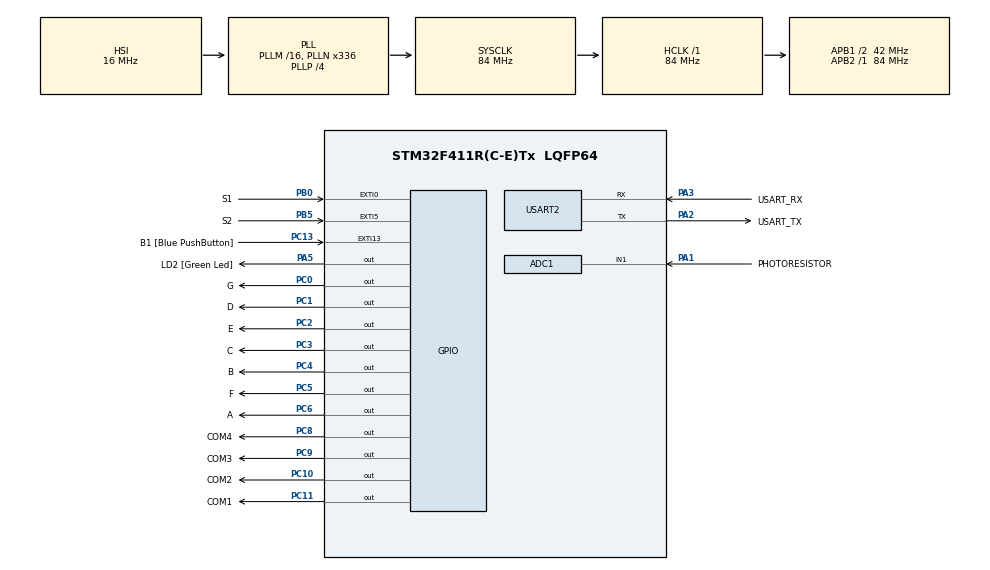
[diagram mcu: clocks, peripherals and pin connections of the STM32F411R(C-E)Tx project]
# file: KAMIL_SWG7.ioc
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ADC1.Channel-1\#ChannelRegularConversion=ADC_CHANNEL_1
ADC1.Channel-2\#ChannelRegularConversion=ADC_CHANNEL_TEMPSENSOR
ADC1.ClockPrescaler=ADC_CLOCK_SYNC_PCLK_DIV8
ADC1.ContinuousConvMode=DISABLE
ADC1.DMAContinuousRequests=ENABLE
ADC1.ExternalTrigConv=ADC_EXTERNALTRIGCONV_T2_TRGO
ADC1.NbrOfConversion=2
ADC1.NbrOfConversionFlag=1
ADC1.Rank-1\#ChannelRegularConversion=1
ADC1.Rank-2\#ChannelRegularConversion=2
ADC1.SamplingTime-1\#ChannelRegularConversion=ADC_SAMPLETIME_480CYCLES
ADC1.SamplingTime-2\#ChannelRegularConversion=ADC_SAMPLETIME_480CYCLES
ADC1.ScanConvMode=ENABLE
ADC1.master=1
Dma.ADC1.2.Direction=DMA_PERIPH_TO_MEMORY
Dma.ADC1.2.FIFOMode=DMA_FIFOMODE_DISABLE
Dma.ADC1.2.Instance=DMA2_Stream0
Dma.ADC1.2.MemDataAlignment=DMA_MDATAALIGN_HALFWORD
Dma.ADC1.2.MemInc=DMA_MINC_ENABLE
Dma.ADC1.2.Mode=DMA_CIRCULAR
Dma.ADC1.2.PeriphDataAlignment=DMA_PDATAALIGN_HALFWORD
Dma.ADC1.2.PeriphInc=DMA_PINC_DISABLE
Dma.ADC1.2.Priority=DMA_PRIORITY_LOW
Dma.Request0=USART2_TX
Dma.Request1=USART2_RX
Dma.Request2=ADC1
Dma.USART2_RX.1.Direction=DMA_PERIPH_TO_MEMORY
Dma.USART2_RX.1.FIFOMode=DMA_FIFOMODE_DISABLE
Dma.USART2_RX.1.Instance=DMA1_Stream5
Dma.USART2_RX.1.MemDataAlignment=DMA_MDATAALIGN_BYTE
Dma.USART2_RX.1.MemInc=DMA_MINC_ENABLE
Dma.USART2_RX.1.Mode=DMA_NORMAL
Dma.USART2_RX.1.PeriphDataAlignment=DMA_PDATAALIGN_BYTE
Dma.USART2_RX.1.PeriphInc=DMA_PINC_DISABLE
Dma.USART2_RX.1.Priority=DMA_PRIORITY_LOW
Dma.USART2_TX.0.Direction=DMA_MEMORY_TO_PERIPH
Dma.USART2_TX.0.FIFOMode=DMA_FIFOMODE_DISABLE
Dma.USART2_TX.0.Instance=DMA1_Stream6
Dma.USART2_TX.0.MemDataAlignment=DMA_MDATAALIGN_BYTE
Dma.USART2_TX.0.MemInc=DMA_MINC_ENABLE
Dma.USART2_TX.0.Mode=DMA_NORMAL
Dma.USART2_TX.0.PeriphDataAlignment=DMA_PDATAALIGN_BYTE
Dma.USART2_TX.0.PeriphInc=DMA_PINC_DISABLE
Dma.USART2_TX.0.Priority=DMA_PRIORITY_LOW
Mcu.Family=STM32F4
Mcu.Name=STM32F411R(C-E)Tx
Mcu.Package=LQFP64
NVIC.DMA1_Stream5_IRQn=true\:0\:0\:false\:false\:true\:false\:true\:true
NVIC.DMA1_Stream6_IRQn=true\:0\:0\:false\:false\:true\:false\:true\:true
NVIC.DMA2_Stream0_IRQn=true\:0\:0\:false\:false\:true\:false\:true\:true
NVIC.EXTI0_IRQn=true\:0\:0\:false\:false\:true\:true\:true\:true
NVIC.EXTI9_5_IRQn=true\:0\:0\:false\:false\:true\:true\:true\:true
NVIC.PriorityGroup=NVIC_PRIORITYGROUP_0
NVIC.TIM1_TRG_COM_TIM11_IRQn=true\:0\:0\:false\:false\:true\:true\:true\:true
NVIC.TIM1_UP_TIM10_IRQn=true\:0\:0\:false\:false\:true\:true\:true\:true
NVIC.USART2_IRQn=true\:0\:0\:false\:false\:true\:true\:true\:true
PA1.GPIO_Label=PHOTORESISTOR
PA1.Signal=ADCx_IN1
PA13.GPIO_Label=TMS
PA13.Mode=Serial_Wire
PA13.Signal=SYS_JTMS-SWDIO
PA14.GPIO_Label=TCK
PA14.Mode=Serial_Wire
PA14.Signal=SYS_JTCK-SWCLK
PA2.GPIO_Label=USART_TX
PA2.Mode=Asynchronous
PA2.Signal=USART2_TX
PA3.GPIO_Label=USART_RX
PA3.Mode=Asynchronous
PA3.Signal=USART2_RX
PA5.GPIO_Label=LD2 [Green Led]
PA5.Signal=GPIO_Output
PB0.GPIO_Label=S1
PB0.GPIO_ModeDefaultEXTI=GPIO_MODE_IT_FALLING
PB0.GPIO_PuPd=GPIO_PULLUP
PB0.Signal=GPXTI0
PB3.GPIO_Label=SWO
PB3.Signal=SYS_JTDO-SWO
PB5.GPIO_Label=S2
PB5.GPIO_ModeDefaultEXTI=GPIO_MODE_IT_FALLING
PB5.GPIO_PuPd=GPIO_PULLUP
PB5.Signal=GPXTI5
PC0.GPIO_Label=G
PC0.Signal=GPIO_Output
PC1.GPIO_Label=D
PC1.Signal=GPIO_Output
PC10.GPIO_Label=COM2
PC10.Signal=GPIO_Output
PC11.GPIO_Label=COM1
PC11.Signal=GPIO_Output
PC13-ANTI_TAMP.GPIO_Label=B1 [Blue PushButton]
PC13-ANTI_TAMP.GPIO_ModeDefaultEXTI=GPIO_MODE_IT_FALLING
PC13-ANTI_TAMP.Signal=GPXTI13
PC14-OSC32_IN.Mode=LSE-External-Oscillator
PC14-OSC32_IN.Signal=RCC_OSC32_IN
PC15-OSC32_OUT.Mode=LSE-External-Oscillator
PC15-OSC32_OUT.Signal=RCC_OSC32_OUT
PC2.GPIO_Label=E
PC2.Signal=GPIO_Output
PC3.GPIO_Label=C
PC3.Signal=GPIO_Output
PC4.GPIO_Label=B
PC4.Signal=GPIO_Output
PC5.GPIO_Label=F
PC5.Signal=GPIO_Output
PC6.GPIO_Label=A
PC6.Signal=GPIO_Output
PC8.GPIO_Label=COM4
PC8.Signal=GPIO_Output
PC9.GPIO_Label=COM3
PC9.Signal=GPIO_Output
PH0\ -\ OSC_IN.Mode=HSE-External-Clock-Source
PH0\ -\ OSC_IN.Signal=RCC_OSC_IN
PH1\ -\ OSC_OUT.Mode=HSE-External-Clock-Source
PH1\ -\ OSC_OUT.Signal=RCC_OSC_OUT
ProjectManager.HeapSize=0x200
ProjectManager.StackSize=0x400
ProjectManager.TargetToolchain=STM32CubeIDE
RCC.48MHZClocksFreq_Value=84000000
RCC.AHBFreq_Value=84000000
RCC.APB1CLKDivider=RCC_HCLK_DIV2
RCC.APB1Freq_Value=42000000
RCC.APB1TimFreq_Value=84000000
RCC.APB2Freq_Value=84000000
RCC.APB2TimFreq_Value=84000000
RCC.CortexFreq_Value=84000000
RCC.FLatency-AdvancedSettings=FLASH_LATENCY_2
RCC.HCLKFreq_Value=84000000
RCC.HSE_VALUE=8000000
RCC.HSI_VALUE=16000000
RCC.PLLN=336
RCC.PLLP=RCC_PLLP_DIV4
RCC.SYSCLKFreq_VALUE=84000000
RCC.SYSCLKSource=RCC_SYSCLKSOURCE_PLLCLK
RCC.VCOOutputFreq_Value=336000000
SH.ADCx_IN1.0=ADC1_IN1,IN1
TIM10.Period=1000-1
TIM10.Prescaler=8400-1
TIM11.Period=999
TIM11.Prescaler=200
TIM2.Period=999
TIM2.Prescaler=8399
TIM2.TIM_MasterOutputTrigger=TIM_TRGO_UPDATE
USART2.VirtualMode=VM_ASYNC
VP_ADC1_TempSens_Input.Mode=IN-TempSens
VP_TIM10_VS_ClockSourceINT.Mode=Enable_Timer
VP_TIM11_VS_ClockSourceINT.Mode=Enable_Timer
VP_TIM2_VS_ClockSourceINT.Mode=Internal
board=NUCLEO-F411RE

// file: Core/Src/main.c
/* USER CODE BEGIN Header */
/**
  ******************************************************************************
  * @file           : main.c
  * @brief          : Main program body
  ******************************************************************************
  * @attention
  *
  * Copyright (c) 2023 STMicroelectronics.
  * All rights reserved.
  *
  * This software is licensed under terms that can be found in the LICENSE file
  * in the root directory of this software component.
  * If no LICENSE file comes with this software, it is provided AS-IS.
  *
  ******************************************************************************
  */
/* USER CODE END Header */
#include "main.h"

ADC_HandleTypeDef hadc1;
DMA_HandleTypeDef hdma_adc1;

TIM_HandleTypeDef htim2;
TIM_HandleTypeDef htim10;
TIM_HandleTypeDef htim11;

UART_HandleTypeDef huart2;
DMA_HandleTypeDef hdma_usart2_tx;
DMA_HandleTypeDef hdma_usart2_rx;

/* USER CODE BEGIN PV */
volatile uint8_t NrDisp;
volatile uint16_t Number = 0;
volatile uint8_t unit_number;
volatile uint8_t decimal_number;
volatile uint8_t hundreds_number;
volatile uint8_t thousandths_number;
volatile uint32_t t1_S1 = 0;
volatile uint32_t t2_S1 = 0;
volatile uint32_t t1_S2 = 0;
volatile uint32_t t2_S2 = 0;
const uint32_t delay = 200;
volatile uint16_t TX_size;
volatile uint8_t buffor_tx[100];
volatile uint8_t buffor_rx[10];
volatile uint8_t flag_start = 0;
volatile uint16_t ADC_value[2];
volatile uint8_t flag_end_adc = 1;
volatile uint8_t flag_end_transmit = 1;

/* USER CODE END PV */

void SystemClock_Config(void);
static void MX_GPIO_Init(void);
static void MX_DMA_Init(void);
static void MX_USART2_UART_Init(void);
static void MX_TIM11_Init(void);
static void MX_ADC1_Init(void);
static void MX_TIM10_Init(void);
static void MX_TIM2_Init(void);
/* USER CODE BEGIN PFP */
void HAL_ADC_ConvCpltCallback(ADC_HandleTypeDef* hadc);
void HAL_GPIO_EXTI_Callback(uint16_t GPIO_Pin);
void HAL_TIM_PeriodElapsedCallback(TIM_HandleTypeDef *htim);
void count_number();
void SetDisp(uint8_t number);
void DispSeg7(uint8_t mask);
void SetSeg7(uint8_t number);

/* USER CODE END PFP */

/* USER CODE BEGIN 0 */

// Funkcja odpowiedzinalna ustawienie flagi transmisji w celu informacji zakończenia transmisji UART
void HAL_UART_TxCpltCallback(UART_HandleTypeDef *huart){

	if (huart->Instance == USART2){
		flag_end_transmit = 1;

	}
}

// Funkcja odpowiedzinalna ustawienie flagi umożliwającej rozpoczęcie oraz zakończenie pomiarów
void HAL_UART_RxCpltCallback(UART_HandleTypeDef *huart){

	if(huart->Instance == USART2){
		if(buffor_rx[0] == 'a'){
			flag_start = 1;
		}else if(buffor_rx[0] == 'z'){
			flag_start = 0;
		}

		HAL_UART_Receive_DMA(huart, buffor_rx, 1);

	}

}

// Funkcja odpowiedzinalna ustawienie flagi ADC informujcej o zakończniu konwersji pomiaów  z dwóch kanałów na przetowniku analogowo-cyfrowym
void HAL_ADC_ConvCpltCallback(ADC_HandleTypeDef* hadc){
	if(hadc->Instance == ADC1){
		flag_end_adc = 1;
	}

}

// Funkcja odpowiedzialna za przerwania zewnętrzne
void HAL_GPIO_EXTI_Callback(uint16_t GPIO_Pin){

	if(GPIO_Pin == S1_Pin){
		t2_S1 = HAL_GetTick();
		if(t2_S1 - t1_S1 > delay){
			t1_S1 = t2_S1;
			if(Number == 0){
					Number = 9999;
			}else{
				Number --;
			}
			count_number();
		}

	}else if(GPIO_Pin == S2_Pin){
		t2_S2 = HAL_GetTick();
		if(t2_S2 - t1_S2 > delay){
			t1_S2 = t2_S2;
			Number ++;
			count_number();

		}

	}

}

// funkcja odpowiedzilana z obsługę przerwań związanych z timerem TIM11
void HAL_TIM_PeriodElapsedCallback(TIM_HandleTypeDef *htim){
	if(htim->Instance == TIM11){
		// Switch umożliwający cykliczną zamianę jednego z 4 wyświetlaczy 7-seg
		switch(NrDisp){
		case 0:
			SetDisp(0);
			SetSeg7(thousandths_number);
			NrDisp = 1;
			break;
		case 1:
			SetDisp(1);
			SetSeg7(hundreds_number);
			NrDisp = 2;
			break;
		case 2:
			SetDisp(2);
			SetSeg7(decimal_number);
			NrDisp = 3;
			break;
		case 3:
			SetDisp(3);
			SetSeg7(unit_number);
			NrDisp = 0;
			break;
		}
	}

}

// Funkcja umożliwiająca zlicznie, oraz dekodowanie wartości Number
void count_number(){
	if(Number > 9999){
		Number = 0;
	}
	thousandths_number = Number/1000;
	hundreds_number = (Number%1000)/100;
	decimal_number = (Number%1000%100)/10;
	unit_number = (Number%1000%100%10);

}

// Funkcja umożliwiająca ustawienie odpowiedniego COM-a do wyświetlacza
// w celu wyboru jednego z 4 wyświetlaczy 7-seg
void SetDisp(uint8_t number){

	HAL_GPIO_WritePin(COM1_GPIO_Port, COM1_Pin, GPIO_PIN_SET);
	HAL_GPIO_WritePin(COM2_GPIO_Port, COM2_Pin, GPIO_PIN_SET);
	HAL_GPIO_WritePin(COM3_GPIO_Port, COM3_Pin, GPIO_PIN_SET);
	HAL_GPIO_WritePin(COM4_GPIO_Port, COM4_Pin, GPIO_PIN_SET);
	switch(number){
		case 0:
			HAL_GPIO_WritePin(COM1_GPIO_Port, COM1_Pin, GPIO_PIN_RESET);
			break;
		case 1:
			HAL_GPIO_WritePin(COM2_GPIO_Port, COM2_Pin, GPIO_PIN_RESET);
			break;
		case 2:
			HAL_GPIO_WritePin(COM3_GPIO_Port, COM3_Pin, GPIO_PIN_RESET);
			break;
		case 3:
			HAL_GPIO_WritePin(COM4_GPIO_Port, COM4_Pin, GPIO_PIN_RESET);
			break;

	}
}

// Funkcja ustawiająca odpowiedni stan na wyjściu zgodnie z maską podaną z funkcji SetSeg7
void DispSeg7(uint8_t mask){
	HAL_GPIO_WritePin(A_GPIO_Port, A_Pin, mask & 0x01);
	HAL_GPIO_WritePin(B_GPIO_Port, B_Pin, mask & 0x02);
	HAL_GPIO_WritePin(C_GPIO_Port, C_Pin, mask & 0x04);
	HAL_GPIO_WritePin(D_GPIO_Port, D_Pin, mask & 0x08);
	HAL_GPIO_WritePin(E_GPIO_Port, E_Pin, mask & 0x10);
	HAL_GPIO_WritePin(F_GPIO_Port, F_Pin, mask & 0x20);
	HAL_GPIO_WritePin(G_GPIO_Port, G_Pin, mask & 0x40);

}

// Funkcja deklarująca wyświedlanie odpowiednich segmentów dla poszczególnych liczb
void SetSeg7(uint8_t number){
	switch(number){
	case 0:
		DispSeg7(0b0111111);
		break;
	case 1:
		DispSeg7(0b0000110);
		break;
	case 2:
		DispSeg7(0b1011011);
		break;
	case 3:
		DispSeg7(0b1001111);
		break;
	case 4:
		DispSeg7(0b1100110);
		break;
	case 5:
		DispSeg7(0b1101101);
		break;
	case 6:
		DispSeg7(0b1111101);
		break;
	case 7:
		DispSeg7(0b0000111);
		break;
	case 8:
		DispSeg7(0b1111111);
		break;
	case 9:
		DispSeg7(0b1101111);
		break;
	default:
		DispSeg7(0b1111001);
		break;
	}
}

/* USER CODE END 0 */

int main(void)
{

  /* MCU Configuration--------------------------------------------------------*/

  /* Reset of all peripherals, Initializes the Flash interface and the Systick. */
  HAL_Init();

  /* Configure the system clock */
  SystemClock_Config();

  /* Initialize all configured peripherals */
  MX_GPIO_Init();
  MX_DMA_Init();
  MX_USART2_UART_Init();
  MX_TIM11_Init();
  MX_ADC1_Init();
  MX_TIM10_Init();
  MX_TIM2_Init();
  /* USER CODE BEGIN 2 */
  HAL_TIM_Base_Start_IT(&htim11);

  HAL_TIM_Base_Start(&htim2);
  HAL_ADC_Start_DMA(&hadc1, ADC_value, 2);

  /* USER CODE END 2 */

  /* Infinite loop */
  /* USER CODE BEGIN WHILE */

//  uint16_t cnt = 0;
//  TX_size = snprintf(buffor_tx,sizeof(buffor_tx),"Pierwszy: %d",cnt);
//  HAL_UART_Transmit_DMA(&huart2, buffor_tx, TX_size);

  HAL_UART_Receive_DMA(&huart2,buffor_rx, 2);

  while (1)
  {

    // Główna pętla realizuje wysłanie pobranych wartości na port szeregowy przy czym muszą byc spełnione odpowiednie warunki
	  if(flag_start == 1){
		  if(flag_end_adc == 1 && flag_end_transmit == 1){
			  size_t n = snprintf(buffor_tx,"%d,%d\n", ADC_value[0], ADC_value[1]);
			  HAL_UART_Transmit_DMA(&huart2,buffor_tx, n);
			  flag_end_transmit = 0;
			  flag_end_adc = 0;
		  }

	  }

    /* USER CODE END WHILE */

  }
}

void SystemClock_Config(void)
{
  RCC_OscInitTypeDef RCC_OscInitStruct = {0};
  RCC_ClkInitTypeDef RCC_ClkInitStruct = {0};

  /** Configure the main internal regulator output voltage
  */
  __HAL_RCC_PWR_CLK_ENABLE();
  __HAL_PWR_VOLTAGESCALING_CONFIG(PWR_REGULATOR_VOLTAGE_SCALE1);

  /** Initializes the RCC Oscillators according to the specified parameters
  * in the RCC_OscInitTypeDef structure.
  */
  RCC_OscInitStruct.OscillatorType = RCC_OSCILLATORTYPE_HSI;
  RCC_OscInitStruct.HSIState = RCC_HSI_ON;
  RCC_OscInitStruct.HSICalibrationValue = RCC_HSICALIBRATION_DEFAULT;
  RCC_OscInitStruct.PLL.PLLState = RCC_PLL_ON;
  RCC_OscInitStruct.PLL.PLLSource = RCC_PLLSOURCE_HSI;
  RCC_OscInitStruct.PLL.PLLM = 16;
  RCC_OscInitStruct.PLL.PLLN = 336;
  RCC_OscInitStruct.PLL.PLLP = RCC_PLLP_DIV4;
  RCC_OscInitStruct.PLL.PLLQ = 4;
  if (HAL_RCC_OscConfig(&RCC_OscInitStruct) != HAL_OK)
  {
    Error_Handler();
  }

  /** Initializes the CPU, AHB and APB buses clocks
  */
  RCC_ClkInitStruct.ClockType = RCC_CLOCKTYPE_HCLK|RCC_CLOCKTYPE_SYSCLK
                              |RCC_CLOCKTYPE_PCLK1|RCC_CLOCKTYPE_PCLK2;
  RCC_ClkInitStruct.SYSCLKSource = RCC_SYSCLKSOURCE_PLLCLK;
  RCC_ClkInitStruct.AHBCLKDivider = RCC_SYSCLK_DIV1;
  RCC_ClkInitStruct.APB1CLKDivider = RCC_HCLK_DIV2;
  RCC_ClkInitStruct.APB2CLKDivider = RCC_HCLK_DIV1;

  if (HAL_RCC_ClockConfig(&RCC_ClkInitStruct, FLASH_LATENCY_2) != HAL_OK)
  {
    Error_Handler();
  }
}

static void MX_ADC1_Init(void)
{

  ADC_ChannelConfTypeDef sConfig = {0};

  /** Configure the global features of the ADC (Clock, Resolution, Data Alignment and number of conversion)
  */
  hadc1.Instance = ADC1;
  hadc1.Init.ClockPrescaler = ADC_CLOCK_SYNC_PCLK_DIV8;
  hadc1.Init.Resolution = ADC_RESOLUTION_12B;
  hadc1.Init.ScanConvMode = ENABLE;
  hadc1.Init.ContinuousConvMode = DISABLE;
  hadc1.Init.DiscontinuousConvMode = DISABLE;
  hadc1.Init.ExternalTrigConvEdge = ADC_EXTERNALTRIGCONVEDGE_RISING;
  hadc1.Init.ExternalTrigConv = ADC_EXTERNALTRIGCONV_T2_TRGO;
  hadc1.Init.DataAlign = ADC_DATAALIGN_RIGHT;
  hadc1.Init.NbrOfConversion = 2;
  hadc1.Init.DMAContinuousRequests = ENABLE;
  hadc1.Init.EOCSelection = ADC_EOC_SINGLE_CONV;
  if (HAL_ADC_Init(&hadc1) != HAL_OK)
  {
    Error_Handler();
  }

  /** Configure for the selected ADC regular channel its corresponding rank in the sequencer and its sample time.
  */
  sConfig.Channel = ADC_CHANNEL_1;
  sConfig.Rank = 1;
  sConfig.SamplingTime = ADC_SAMPLETIME_480CYCLES;
  if (HAL_ADC_ConfigChannel(&hadc1, &sConfig) != HAL_OK)
  {
    Error_Handler();
  }

  /** Configure for the selected ADC regular channel its corresponding rank in the sequencer and its sample time.
  */
  sConfig.Channel = ADC_CHANNEL_TEMPSENSOR;
  sConfig.Rank = 2;
  if (HAL_ADC_ConfigChannel(&hadc1, &sConfig) != HAL_OK)
  {
    Error_Handler();
  }

}

static void MX_TIM2_Init(void)
{

  TIM_ClockConfigTypeDef sClockSourceConfig = {0};
  TIM_MasterConfigTypeDef sMasterConfig = {0};

  htim2.Instance = TIM2;
  htim2.Init.Prescaler = 8399;
  htim2.Init.CounterMode = TIM_COUNTERMODE_UP;
  htim2.Init.Period = 999;
  htim2.Init.ClockDivision = TIM_CLOCKDIVISION_DIV1;
  htim2.Init.AutoReloadPreload = TIM_AUTORELOAD_PRELOAD_DISABLE;
  if (HAL_TIM_Base_Init(&htim2) != HAL_OK)
  {
    Error_Handler();
  }
  sClockSourceConfig.ClockSource = TIM_CLOCKSOURCE_INTERNAL;
  if (HAL_TIM_ConfigClockSource(&htim2, &sClockSourceConfig) != HAL_OK)
  {
    Error_Handler();
  }
  sMasterConfig.MasterOutputTrigger = TIM_TRGO_UPDATE;
  sMasterConfig.MasterSlaveMode = TIM_MASTERSLAVEMODE_DISABLE;
  if (HAL_TIMEx_MasterConfigSynchronization(&htim2, &sMasterConfig) != HAL_OK)
  {
    Error_Handler();
  }

}

static void MX_TIM10_Init(void)
{

  htim10.Instance = TIM10;
  htim10.Init.Prescaler = 8400-1;
  htim10.Init.CounterMode = TIM_COUNTERMODE_UP;
  htim10.Init.Period = 1000-1;
  htim10.Init.ClockDivision = TIM_CLOCKDIVISION_DIV1;
  htim10.Init.AutoReloadPreload = TIM_AUTORELOAD_PRELOAD_DISABLE;
  if (HAL_TIM_Base_Init(&htim10) != HAL_OK)
  {
    Error_Handler();
  }

}

static void MX_TIM11_Init(void)
{

  htim11.Instance = TIM11;
  htim11.Init.Prescaler = 200;
  htim11.Init.CounterMode = TIM_COUNTERMODE_UP;
  htim11.Init.Period = 999;
  htim11.Init.ClockDivision = TIM_CLOCKDIVISION_DIV1;
  htim11.Init.AutoReloadPreload = TIM_AUTORELOAD_PRELOAD_DISABLE;
  if (HAL_TIM_Base_Init(&htim11) != HAL_OK)
  {
    Error_Handler();
  }

}

static void MX_USART2_UART_Init(void)
{

  huart2.Instance = USART2;
  huart2.Init.BaudRate = 115200;
  huart2.Init.WordLength = UART_WORDLENGTH_8B;
  huart2.Init.StopBits = UART_STOPBITS_1;
  huart2.Init.Parity = UART_PARITY_NONE;
  huart2.Init.Mode = UART_MODE_TX_RX;
  huart2.Init.HwFlowCtl = UART_HWCONTROL_NONE;
  huart2.Init.OverSampling = UART_OVERSAMPLING_16;
  if (HAL_UART_Init(&huart2) != HAL_OK)
  {
    Error_Handler();
  }

}

static void MX_DMA_Init(void)
{

  /* DMA controller clock enable */
  __HAL_RCC_DMA1_CLK_ENABLE();
  __HAL_RCC_DMA2_CLK_ENABLE();

  /* DMA interrupt init */
  /* DMA1_Stream5_IRQn interrupt configuration */
  HAL_NVIC_SetPriority(DMA1_Stream5_IRQn, 0, 0);
  HAL_NVIC_EnableIRQ(DMA1_Stream5_IRQn);
  /* DMA1_Stream6_IRQn interrupt configuration */
  HAL_NVIC_SetPriority(DMA1_Stream6_IRQn, 0, 0);
  HAL_NVIC_EnableIRQ(DMA1_Stream6_IRQn);
  /* DMA2_Stream0_IRQn interrupt configuration */
  HAL_NVIC_SetPriority(DMA2_Stream0_IRQn, 0, 0);
  HAL_NVIC_EnableIRQ(DMA2_Stream0_IRQn);

}

static void MX_GPIO_Init(void)
{
  GPIO_InitTypeDef GPIO_InitStruct = {0};

  /* GPIO Ports Clock Enable */
  __HAL_RCC_GPIOC_CLK_ENABLE();
  __HAL_RCC_GPIOH_CLK_ENABLE();
  __HAL_RCC_GPIOA_CLK_ENABLE();
  __HAL_RCC_GPIOB_CLK_ENABLE();

  /*Configure GPIO pin Output Level */
  HAL_GPIO_WritePin(GPIOC, G_Pin|D_Pin|E_Pin|C_Pin
                          |B_Pin|F_Pin|A_Pin|COM4_Pin
                          |COM3_Pin|COM2_Pin|COM1_Pin, GPIO_PIN_RESET);

  /*Configure GPIO pin Output Level */
  HAL_GPIO_WritePin(LD2_GPIO_Port, LD2_Pin, GPIO_PIN_RESET);

  /*Configure GPIO pin : B1_Pin */
  GPIO_InitStruct.Pin = B1_Pin;
  GPIO_InitStruct.Mode = GPIO_MODE_IT_FALLING;
  GPIO_InitStruct.Pull = GPIO_NOPULL;
  HAL_GPIO_Init(B1_GPIO_Port, &GPIO_InitStruct);

  /*Configure GPIO pins : G_Pin D_Pin E_Pin C_Pin
                           B_Pin F_Pin A_Pin COM4_Pin
                           COM3_Pin COM2_Pin COM1_Pin */
  GPIO_InitStruct.Pin = G_Pin|D_Pin|E_Pin|C_Pin
                          |B_Pin|F_Pin|A_Pin|COM4_Pin
                          |COM3_Pin|COM2_Pin|COM1_Pin;
  GPIO_InitStruct.Mode = GPIO_MODE_OUTPUT_PP;
  GPIO_InitStruct.Pull = GPIO_NOPULL;
  GPIO_InitStruct.Speed = GPIO_SPEED_FREQ_LOW;
  HAL_GPIO_Init(GPIOC, &GPIO_InitStruct);

  /*Configure GPIO pin : LD2_Pin */
  GPIO_InitStruct.Pin = LD2_Pin;
  GPIO_InitStruct.Mode = GPIO_MODE_OUTPUT_PP;
  GPIO_InitStruct.Pull = GPIO_NOPULL;
  GPIO_InitStruct.Speed = GPIO_SPEED_FREQ_LOW;
  HAL_GPIO_Init(LD2_GPIO_Port, &GPIO_InitStruct);

  /*Configure GPIO pins : S1_Pin S2_Pin */
  GPIO_InitStruct.Pin = S1_Pin|S2_Pin;
  GPIO_InitStruct.Mode = GPIO_MODE_IT_FALLING;
  GPIO_InitStruct.Pull = GPIO_PULLUP;
  HAL_GPIO_Init(GPIOB, &GPIO_InitStruct);

  /* EXTI interrupt init*/
  HAL_NVIC_SetPriority(EXTI0_IRQn, 0, 0);
  HAL_NVIC_EnableIRQ(EXTI0_IRQn);

  HAL_NVIC_SetPriority(EXTI9_5_IRQn, 0, 0);
  HAL_NVIC_EnableIRQ(EXTI9_5_IRQn);

}

void Error_Handler(void)
{
  __disable_irq();
  while (1)
  {
  }
}
